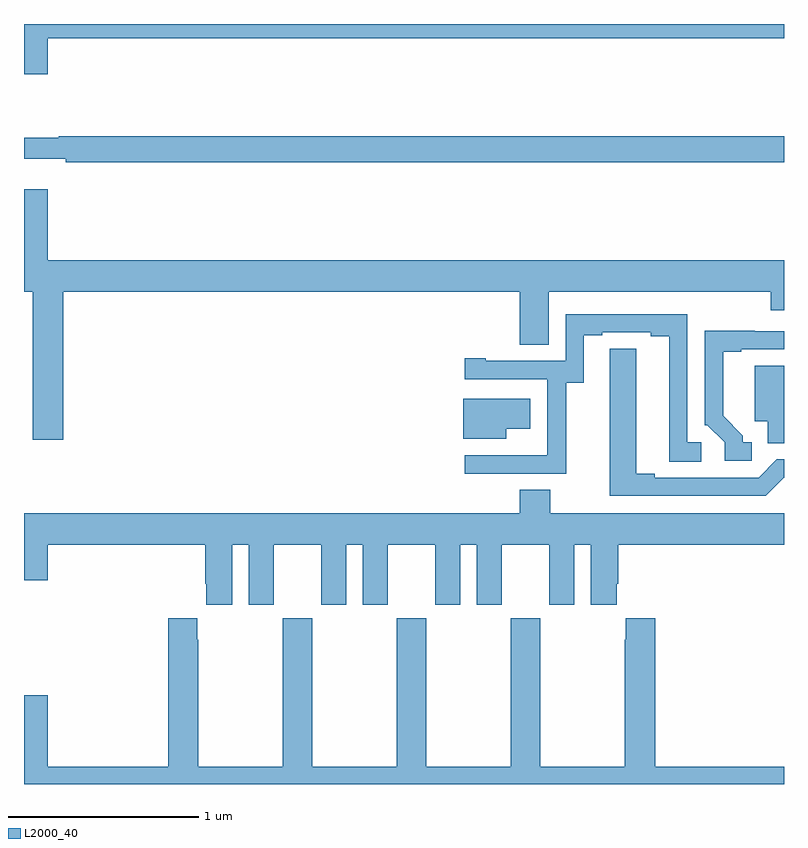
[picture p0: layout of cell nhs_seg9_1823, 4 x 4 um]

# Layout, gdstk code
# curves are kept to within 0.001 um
import gdstk
lib = gdstk.Library(unit=1e-6, precision=1e-09)
def P(c, l, *ps):  # polygons
    for p in ps: c.add(gdstk.Polygon(p, *l))
L2000_40 = (2000, 40)

nhs_seg9_1823 = lib.new_cell('nhs_seg9_1823')
P(nhs_seg9_1823, L2000_40, [(213.124,1192.424),(217,1192.424),(217,1192.5),(213,1192.5),(213,1192.236),(213.124,1192.236)],
  [(217,1191.908),(213.182,1191.908),(213.182,1191.901),(213,1191.901),(213,1191.791),(213.22,1191.791),(213.22,1191.772),(217,1191.772)],
  [(213.206,1191.092),(215.609,1191.092),(215.609,1190.812),(215.761,1190.812),(215.761,1191.092),(216.929,1191.092),(216.929,1190.994),(217,1190.994),(217,1191.256),(213.124,1191.256),(213.124,1191.631),(213,1191.631),(213,1191.092),(213.046,1191.092),(213.046,1190.313),(213.206,1190.313)],
  [(215.853,1190.611),(215.947,1190.611),(215.947,1190.862),(216.043,1190.862),(216.043,1190.877),(216.299,1190.877),(216.299,1190.857),(216.395,1190.857),(216.395,1190.197),(216.565,1190.197),(216.565,1190.298),(216.492,1190.298),(216.492,1190.973),(215.85,1190.973),(215.85,1190.727),(215.431,1190.727),(215.431,1190.74),(215.319,1190.74),(215.319,1190.631),(215.754,1190.631),(215.754,1190.23),(215.753,1190.23),(215.753,1190.229),(215.319,1190.229),(215.319,1190.133),(215.853,1190.133)],
  [(216.829,1190.298),(216.784,1190.298),(216.784,1190.333),(216.679,1190.438),(216.679,1190.775),(216.775,1190.775),(216.775,1190.787),(217,1190.787),(217,1190.883),(216.845,1190.883),(216.845,1190.885),(216.582,1190.885),(216.582,1190.388),(216.597,1190.388),(216.687,1190.298),(216.687,1190.202),(216.829,1190.202)],
  [(216.999,1190.112),(217,1190.208),(216.963,1190.208),(216.867,1190.112),(216.319,1190.112),(216.319,1190.132),(216.223,1190.132),(216.223,1190.792),(216.084,1190.792),(216.083,1190.016),(216.903,1190.016)],
  [(217,1190.702),(216.845,1190.702),(216.845,1190.408),(216.914,1190.408),(216.914,1190.293),(217,1190.293)],
  [(215.539,1190.369),(215.665,1190.369),(215.665,1190.527),(215.312,1190.527),(215.312,1190.318),(215.539,1190.318)],
  [(213,1189.572),(213.124,1189.572),(213.124,1189.76),(213.953,1189.76),(213.953,1189.555),(213.959,1189.555),(213.959,1189.443),(214.096,1189.443),(214.096,1189.76),(214.184,1189.76),(214.184,1189.443),(214.315,1189.443),(214.315,1189.76),(214.565,1189.76),(214.565,1189.443),(214.696,1189.443),(214.696,1189.76),(214.784,1189.76),(214.784,1189.443),(214.915,1189.443),(214.915,1189.76),(215.165,1189.76),(215.165,1189.443),(215.296,1189.443),(215.296,1189.76),(215.384,1189.76),(215.384,1189.443),(215.515,1189.443),(215.515,1189.76),(215.765,1189.76),(215.765,1189.443),(215.896,1189.443),(215.896,1189.76),(215.984,1189.76),(215.984,1189.443),(216.121,1189.443),(216.121,1189.555),(216.128,1189.555),(216.128,1189.76),(217,1189.76),(217,1189.924),(215.769,1189.924),(215.769,1190.048),(215.609,1190.048),(215.609,1189.924),(213,1189.924)],
  [(213,1188.967),(213,1188.5),(217,1188.5),(217,1188.592),(216.323,1188.592),(216.323,1189.372),(216.167,1189.372),(216.167,1189.259),(216.163,1189.259),(216.163,1188.592),(215.718,1188.592),(215.718,1189.372),(215.563,1189.372),(215.563,1188.592),(215.118,1188.592),(215.118,1189.372),(214.963,1189.372),(214.963,1188.592),(214.518,1188.592),(214.518,1189.372),(214.363,1189.372),(214.363,1188.592),(213.918,1188.592),(213.918,1189.259),(213.913,1189.259),(213.913,1189.372),(213.758,1189.372),(213.758,1188.592),(213.124,1188.592),(213.124,1188.967)])

lib.write_gds('nhs_seg9_1823.gds')
